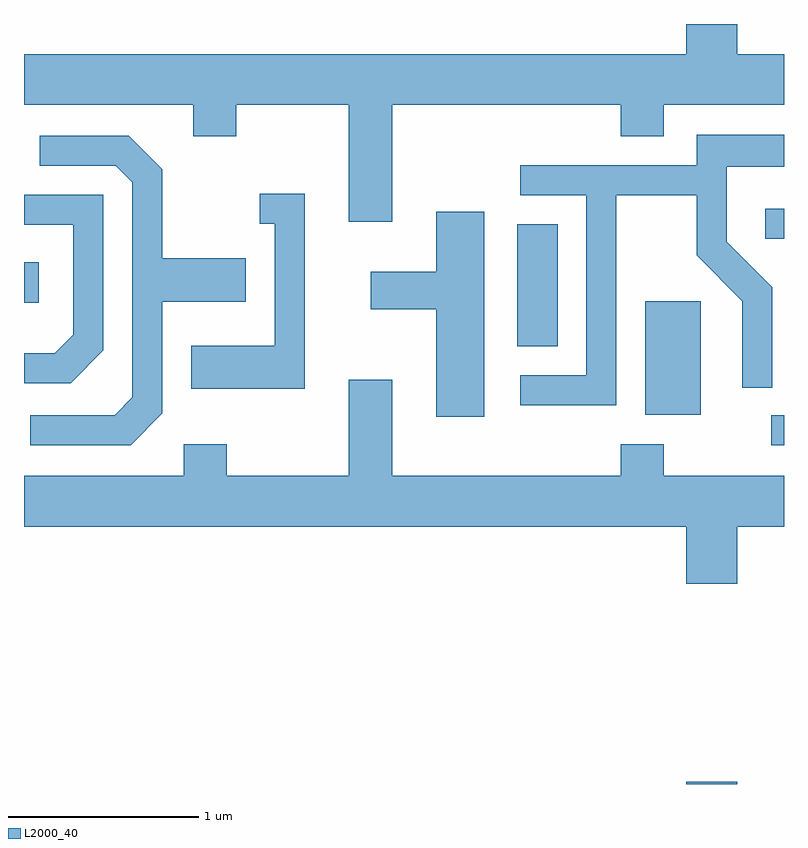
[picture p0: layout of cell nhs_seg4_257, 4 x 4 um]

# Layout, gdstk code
import gdstk
lib = gdstk.Library(unit=1e-6, precision=1e-09)
def R(c, l, rs):  # rectangles x0, y0, x1, y1
    for r in rs: c.add(gdstk.rectangle(r[:2], r[2:], *l))
def P(c, l, *ps):  # polygons
    for p in ps: c.add(gdstk.Polygon(p, *l))
L2000_40 = (2000, 40)

nhs_seg4_257 = lib.new_cell('nhs_seg4_257')
R(nhs_seg4_257, L2000_40, [(195.096,1359.982,195.364,1359.994), (195.543,1361.766,195.611,1361.924), (194.881,1361.926,195.174,1362.524), (194.206,1362.286,194.419,1362.929), (191.611,1362.516,191.689,1362.729), (195.513,1362.851,195.611,1363.009)])
P(nhs_seg4_257, L2000_40, [(193.549,1363.556),(194.751,1363.556),(194.751,1363.391),(194.979,1363.391),(194.979,1363.556),(195.611,1363.556),(195.611,1363.824),(195.364,1363.824),(195.364,1363.982),(195.096,1363.982),(195.096,1363.824),(191.611,1363.824),(191.611,1363.556),(192.501,1363.556),(192.501,1363.391),(192.729,1363.391),(192.729,1363.556),(193.321,1363.556),(193.321,1362.941),(193.549,1362.941)],
  [(194.729,1363.081),(195.151,1363.081),(195.151,1362.764),(195.391,1362.524),(195.391,1362.068),(195.549,1362.068),(195.549,1362.597),(195.309,1362.837),(195.309,1363.231),(195.611,1363.231),(195.611,1363.399),(195.151,1363.399),(195.151,1363.239),(194.223,1363.239),(194.223,1363.081),(194.571,1363.081),(194.571,1362.134),(194.223,1362.134),(194.223,1361.976),(194.729,1361.976)],
  [(192.339,1361.934),(192.339,1362.521),(192.779,1362.521),(192.779,1362.749),(192.339,1362.749),(192.339,1363.217),(192.162,1363.394),(191.693,1363.394),(191.693,1363.236),(192.094,1363.236),(192.181,1363.149),(192.181,1362.017),(192.089,1361.924),(191.643,1361.924),(191.643,1361.766),(192.172,1361.766)],
  [(193.089,1363.089),(192.853,1363.089),(192.853,1362.931),(192.931,1362.931),(192.931,1362.289),(192.491,1362.289),(192.491,1362.061),(193.089,1362.061)],
  [(192.029,1362.264),(192.029,1363.084),(191.611,1363.084),(191.611,1362.926),(191.871,1362.926),(191.871,1362.347),(191.774,1362.249),(191.611,1362.249),(191.611,1362.091),(191.857,1362.091)],
  [(194.034,1362.994),(193.781,1362.994),(193.781,1362.679),(193.436,1362.679),(193.436,1362.481),(193.781,1362.481),(193.781,1361.916),(194.034,1361.916)],
  [(195.364,1361.336),(195.611,1361.336),(195.611,1361.604),(194.979,1361.604),(194.979,1361.769),(194.751,1361.769),(194.751,1361.604),(193.549,1361.604),(193.549,1362.109),(193.321,1362.109),(193.321,1361.604),(192.679,1361.604),(192.679,1361.769),(192.451,1361.769),(192.451,1361.604),(191.611,1361.604),(191.611,1361.336),(195.096,1361.336),(195.096,1361.036),(195.364,1361.036)])

lib.write_gds('nhs_seg4_257.gds')
